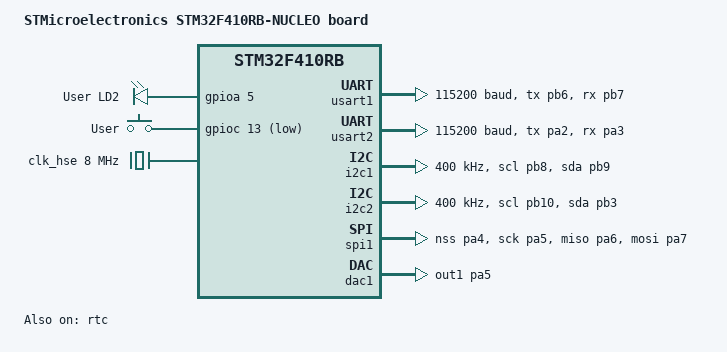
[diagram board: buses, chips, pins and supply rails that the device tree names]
/*
 * Copyright (c) 2020 Hans Unzner
 *
 * SPDX-License-Identifier: Apache-2.0
 */

/dts-v1/;
#include <st/f4/stm32f410Xb.dtsi>
#include <st/f4/stm32f410r(8-b)tx-pinctrl.dtsi>
#include "arduino_r3_connector.dtsi"
#include "st_morpho_connector.dtsi"
#include <zephyr/dt-bindings/input/input-event-codes.h>

/ {
	model = "STMicroelectronics STM32F410RB-NUCLEO board";
	compatible = "st,stm32f410rb-nucleo";

	chosen {
		zephyr,console = &usart2;
		zephyr,shell-uart = &usart2;
		zephyr,sram = &sram0;
		zephyr,flash = &flash0;
	};

	leds: leds {
		compatible = "gpio-leds";
		green_led_2: led_2 {
			gpios = <&gpioa 5 GPIO_ACTIVE_HIGH>;
			label = "User LD2";
		};
	};

	gpio_keys {
		compatible = "gpio-keys";
		user_button: button {
			label = "User";
			gpios = <&gpioc 13 GPIO_ACTIVE_LOW>;
			zephyr,code = <INPUT_KEY_0>;
		};
	};

	aliases {
		led0 = &green_led_2;
		sw0 = &user_button;
	};
};

&clk_lsi {
	status = "okay";
};

&clk_hse {
	hse-bypass;
	clock-frequency = <DT_FREQ_M(8)>; /* STLink 8MHz clock */
	status = "okay";
};

&pll {
	div-m = <8>;
	mul-n = <384>;
	div-p = <4>;
	div-q = <8>;
	clocks = <&clk_hse>;
	status = "okay";
};

&rcc {
	clocks = <&pll>;
	clock-frequency = <DT_FREQ_M(96)>;
	ahb-prescaler = <1>;
	apb1-prescaler = <2>;
	apb2-prescaler = <1>;
};

&usart1 {
	pinctrl-0 = <&usart1_tx_pb6 &usart1_rx_pb7>;
	pinctrl-names = "default";
	current-speed = <115200>;
	status = "okay";
};

&usart2 {
	pinctrl-0 = <&usart2_tx_pa2 &usart2_rx_pa3>;
	pinctrl-names = "default";
	current-speed = <115200>;
	status = "okay";
};

&i2c1 {
	pinctrl-0 = <&i2c1_scl_pb8 &i2c1_sda_pb9>;
	pinctrl-names = "default";
	status = "okay";
	clock-frequency = <I2C_BITRATE_FAST>;
};

&i2c2 {
	pinctrl-0 = <&i2c2_scl_pb10 &i2c2_sda_pb3>;
	pinctrl-names = "default";
	status = "okay";
	clock-frequency = <I2C_BITRATE_FAST>;
};

&spi1 {
	pinctrl-0 = <&spi1_nss_pa4 &spi1_sck_pa5
		     &spi1_miso_pa6 &spi1_mosi_pa7>;
	pinctrl-names = "default";
	status = "okay";
};

&rtc {
	clocks = <&rcc STM32_CLOCK_BUS_APB1 0x10000000>,
		 <&rcc STM32_SRC_LSI RTC_SEL(2)>;
	status = "okay";
};

&dac1 {
	status = "okay";
	pinctrl-0 = <&dac_out1_pa5>;
	pinctrl-names = "default";
};

&flash0 {

	partitions {
		compatible = "fixed-partitions";
		#address-cells = <1>;
		#size-cells = <1>;

		boot_partition: partition@0 {
			label = "mcuboot";
			reg = <0x00000000 DT_SIZE_K(32)>;
			read-only;
		};

		/*
		 * The flash sectors 2&3 at 0x00008000 and ending at
		 * 0x0000ffff
		 */
		slot0_partition: partition@8000 {
			label = "image-0";
			reg = <0x00008000 DT_SIZE_K(32)>;
		};
		/*
		 * The flash sectors 4 at 0x00010000 and ending at
		 * 0x001ffff
		 */
		slot1_partition: partition@10000 {
			label = "image-1";
			reg = <0x00010000 DT_SIZE_K(32)>;
		};
		scratch_partition: partition@18000 {
			label = "image-scratch";
			reg = <0x00018000 DT_SIZE_K(32)>;
		};
	};
};
